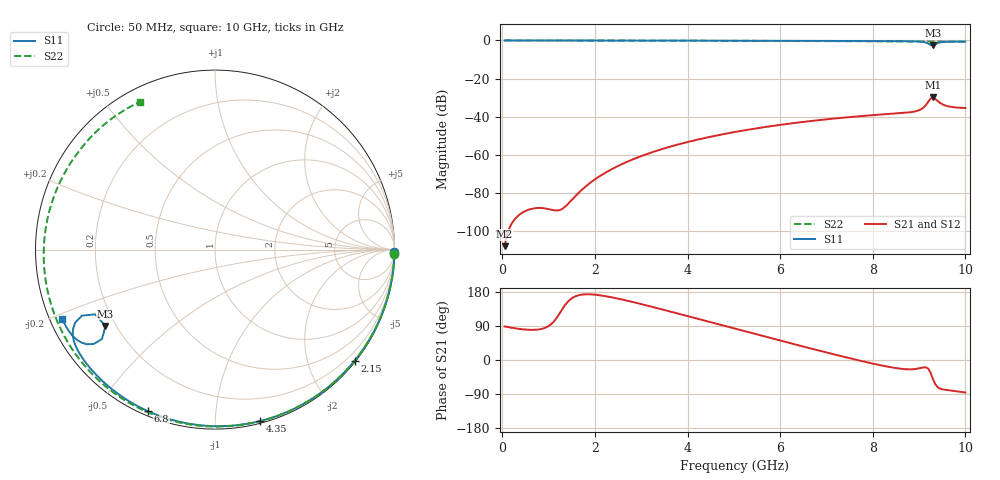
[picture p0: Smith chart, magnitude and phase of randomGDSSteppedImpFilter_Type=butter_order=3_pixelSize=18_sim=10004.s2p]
! freq	dB(S11)	phase(S11)	dB(S12)	phase(S12)
!  dB(S21)	phase(S21)	dB(S22)	phase(S22)
!S-par simulation data
#  GHz  S  DB  R 50
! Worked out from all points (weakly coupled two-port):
!   200 points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, 50 MHz to 10 GHz, reference 50 ohm
!   highest |S21| = -29.94 dB at 9.3 GHz (marker M1); lowest = -108.0 dB at 50 MHz (marker M2)
!   lowest |S11| = -2.6 dB at 9.3 GHz (marker M3), VSWR 6.82, Z = 8.04 - j15.3 ohm
!   |S11| at or under -10 dB: nowhere
!   |S22| runs from -0.7 to 0.0 dB; largest |S21 - S12| = 0
!   S11 on the Smith chart (normalised r, x): 50 MHz: open; 2.15 GHz: 0.03, -2.86; 4.35 GHz: 0.02, -1.30; 6.8 GHz: 0.02, -0.67; 10 GHz: 0.04, -0.22
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0.05  -0.00 -0.9  -108.02 88.7  -108.02 88.7  -0.00 -1.3
0.8  -0.02 -14.6  -87.95 80.8  -87.95 80.8  -0.02 -20.0
1.65  -0.04 -29.7  -79.96 170.9  -79.96 170.9  -0.05 -40.7
1.75  -0.04 -31.5  -77.71 172.9  -77.71 172.9  -0.05 -43.1
2.15  -0.05 -38.5  -70.56 170.0  -70.56 170.0  -0.07 -52.6
2.7  -0.06 -48.0  -63.66 156.4  -63.66 156.4  -0.08 -65.4
3.4  -0.08 -59.8  -57.40 135.1  -57.40 135.1  -0.11 -81.3
4.35  -0.11 -75.2  -51.33 104.5  -51.33 104.5  -0.15 -102.3
5.05  -0.13 -86.2  -47.95 81.7  -47.95 81.7  -0.18 -117.4
6.7  -0.22 -110.9  -42.20 29.1  -42.20 29.1  -0.30 -153.3
6.8  -0.22 -112.4  -41.93 26.0  -41.93 26.0  -0.30 -155.5
7.6  -0.28 -124.1  -40.02 1.8  -40.02 1.8  -0.38 -174.1
8.35  -0.35 -135.3  -38.61 -18.2  -38.61 -18.2  -0.47 167.0
9  -0.59 -147.5  -36.63 -22.1  -36.63 -22.1  -0.55 149.0
9.1  -0.84 -150.6  -35.13 -19.3  -35.13 -19.3  -0.57 146.0
9.2  -1.64 -153.6  -32.12 -23.1  -32.12 -23.1  -0.59 143.1
9.25  -2.40 -151.6  -30.48 -34.0  -30.48 -34.0  -0.59 141.6
9.3  -2.57 -145.1  -29.94 -50.3  -29.94 -50.3  -0.59 140.1
9.35  -1.91 -141.7  -30.68 -63.9  -30.68 -63.9  -0.59 138.5
9.45  -1.03 -143.6  -32.76 -75.3  -32.76 -75.3  -0.60 135.4
9.65  -0.65 -148.9  -34.69 -79.8  -34.69 -79.8  -0.63 128.9
10  -0.59 -155.5  -35.46 -86.0  -35.46 -86.0  -0.69 117.0
